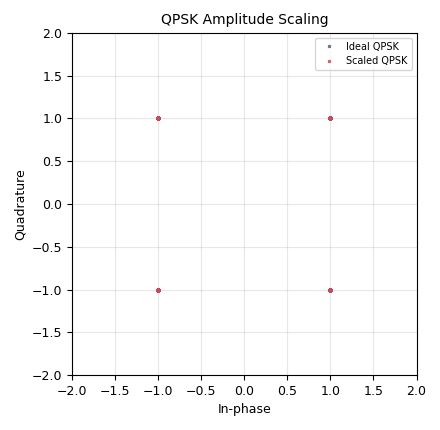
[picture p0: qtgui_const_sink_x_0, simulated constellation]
options:
  parameters:
    author: Dhrubjun
    generate_options: qt_gui
    id: exp8
    output_language: python
    title: QPSK Amplitude Scaling
  states: {}

blocks:
- name: amp_gain
  id: variable_qtgui_range
  parameters:
    label: Amplitude Gain
    start: '0.2'
    step: '0.1'
    stop: '2'
    value: '1'
  states: {}
- name: phase_deg
  id: variable_qtgui_range
  parameters:
    label: Phase
    start: '-90'
    step: '5'
    stop: '90'
    value: '0'
  states: {state: disabled}
- name: samp_rate
  id: variable
  parameters:
    value: '32000'
  states: {}
- name: samples_per_symbol
  id: variable
  parameters:
    value: int(samp_rate/symbol_rate)
  states: {}
- name: symbol_rate
  id: variable
  parameters:
    value: '1000'
  states: {}
- name: analog_sig_source_x_0
  id: analog_sig_source_x
  parameters:
    amp: '1'
    freq: '0'
    offset: '0'
    phase: phase_deg * math.pi / 180
    samp_rate: samp_rate
    type: complex
    waveform: analog.GR_COS_WAVE
  states: {state: disabled}
- name: blocks_float_to_complex_0
  id: blocks_float_to_complex
  parameters: {}
  states: {}
- name: blocks_multiply_const_vxx_0
  id: blocks_multiply_const_vxx
  parameters:
    const: amp_gain
    type: complex
  states: {}
- name: blocks_multiply_xx_0
  id: blocks_multiply_xx
  parameters:
    type: complex
  states: {state: disabled}
- name: blocks_repeat_0_0
  id: blocks_repeat
  parameters:
    interp: samples_per_symbol
    type: float
  states: {}
- name: blocks_repeat_0_0_0
  id: blocks_repeat
  parameters:
    interp: samples_per_symbol
    type: float
  states: {}
- name: blocks_throttle2_0
  id: blocks_throttle2
  parameters:
    samples_per_second: samp_rate
    type: byte
  states: {}
- name: blocks_throttle2_0_0
  id: blocks_throttle2
  parameters:
    samples_per_second: samp_rate
    type: byte
  states: {}
- name: blocks_vector_source_x_0
  id: blocks_vector_source_x
  parameters:
    alias: I Bit Source
    repeat: 'True'
    type: byte
    vector: (0, 0, 1, 1)
  states: {}
- name: blocks_vector_source_x_0_0
  id: blocks_vector_source_x
  parameters:
    alias: Q Bit Source
    repeat: 'True'
    type: byte
    vector: (0, 1, 0, 1)
  states: {}
- name: digital_chunks_to_symbols_xx_0
  id: digital_chunks_to_symbols_xx
  parameters:
    dimension: '1'
    in_type: byte
    out_type: float
    symbol_table: '[-1, 1]'
  states: {}
- name: digital_chunks_to_symbols_xx_0_0
  id: digital_chunks_to_symbols_xx
  parameters:
    dimension: '1'
    in_type: byte
    out_type: float
    symbol_table: '[-1, 1]'
  states: {}
- name: import_0
  id: import
  parameters:
    imports: import math
  states: {}
- name: qtgui_const_sink_x_0
  id: qtgui_const_sink_x
  parameters:
    grid: 'True'
    label1: Ideal QPSK
    label2: Scaled QPSK
    marker2: '2'
    name: QPSK Amplitude Scaling
    nconnections: '2'
    size: '512'
    type: complex
    width1: '5'
    width2: '5'
  states: {}
- name: qtgui_const_sink_x_0_0
  id: qtgui_const_sink_x
  parameters:
    grid: 'True'
    label1: Ideal QPSK
    label2: Rotated QPSK
    marker2: '2'
    name: QPSK Phase Rotation
    nconnections: '2'
    size: '512'
    type: complex
    width1: '5'
    width2: '5'
  states: {state: disabled}

connections:
- [analog_sig_source_x_0, '0', blocks_multiply_xx_0, '1']
- [blocks_float_to_complex_0, '0', blocks_multiply_const_vxx_0, '0']
- [blocks_float_to_complex_0, '0', blocks_multiply_xx_0, '0']
- [blocks_float_to_complex_0, '0', qtgui_const_sink_x_0, '0']
- [blocks_float_to_complex_0, '0', qtgui_const_sink_x_0_0, '0']
- [blocks_multiply_const_vxx_0, '0', qtgui_const_sink_x_0, '1']
- [blocks_multiply_xx_0, '0', qtgui_const_sink_x_0_0, '1']
- [blocks_repeat_0_0, '0', blocks_float_to_complex_0, '0']
- [blocks_repeat_0_0_0, '0', blocks_float_to_complex_0, '1']
- [blocks_throttle2_0, '0', digital_chunks_to_symbols_xx_0, '0']
- [blocks_throttle2_0_0, '0', digital_chunks_to_symbols_xx_0_0, '0']
- [blocks_vector_source_x_0, '0', blocks_throttle2_0, '0']
- [blocks_vector_source_x_0_0, '0', blocks_throttle2_0_0, '0']
- [digital_chunks_to_symbols_xx_0, '0', blocks_repeat_0_0, '0']
- [digital_chunks_to_symbols_xx_0_0, '0', blocks_repeat_0_0_0, '0']

metadata:
  file_format: 1
  grc_version: 3.10.12.0
